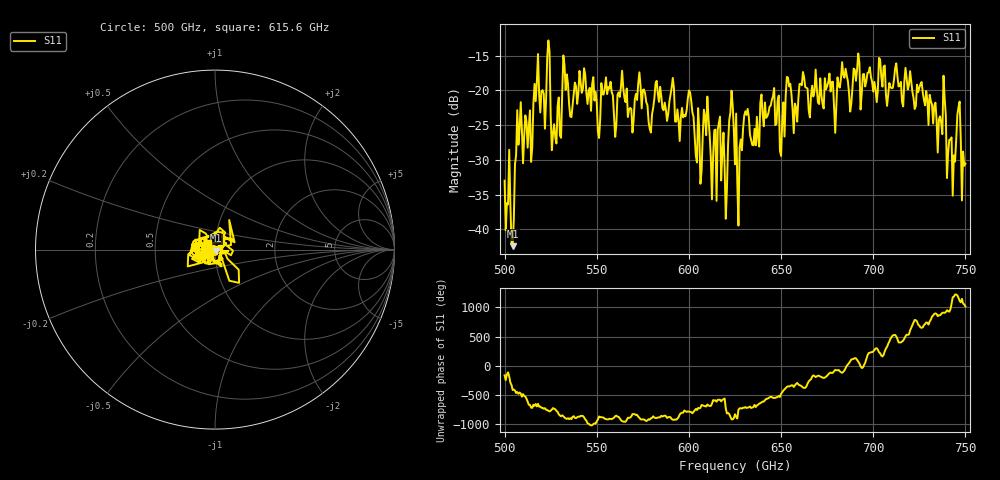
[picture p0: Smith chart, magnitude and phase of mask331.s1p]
!Created with skrf (http://scikit-rf.org).
# GHz S MA R 50.0
!freq magS11 angS11
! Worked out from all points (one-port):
!   401 points, 500 GHz to 750 GHz, reference 50 ohm
!   lowest |S11| = -42.4 dB at 504.4 GHz (marker M1), VSWR 1.02, Z = 50.4 - j0.647 ohm
!   |S11| at or under -10 dB: start of sweep to end of sweep
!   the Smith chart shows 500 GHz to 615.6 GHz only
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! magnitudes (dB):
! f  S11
! 500 GHz  -33.0
! 504.4 GHz  -42.4
! 508.1 GHz  -25.5
! 513.8 GHz  -22.9
! 516.9 GHz  -21.6
! 523.8 GHz  -12.8
! 526.9 GHz  -24.9
! 531.2 GHz  -20.4
! 562.5 GHz  -20.9
! 579.4 GHz  -26.1
! 590.6 GHz  -19.6
! 593.8 GHz  -22.7
! 600.6 GHz  -20.3
! 605.6 GHz  -25.9
! 609.4 GHz  -26.4
! 619.4 GHz  -31.2
! 622.5 GHz  -23.2
! 625 GHz  -30.7
! 627.5 GHz  -28.2
! 631.2 GHz  -23.5
! 635 GHz  -27.9
! 656.2 GHz  -22.8
! 687.5 GHz  -23.1
! 718.8 GHz  -19.9
! 738.1 GHz  -17.9
! 743.1 GHz  -35.2
! 746.2 GHz  -22.4
! 750 GHz  -30.5
